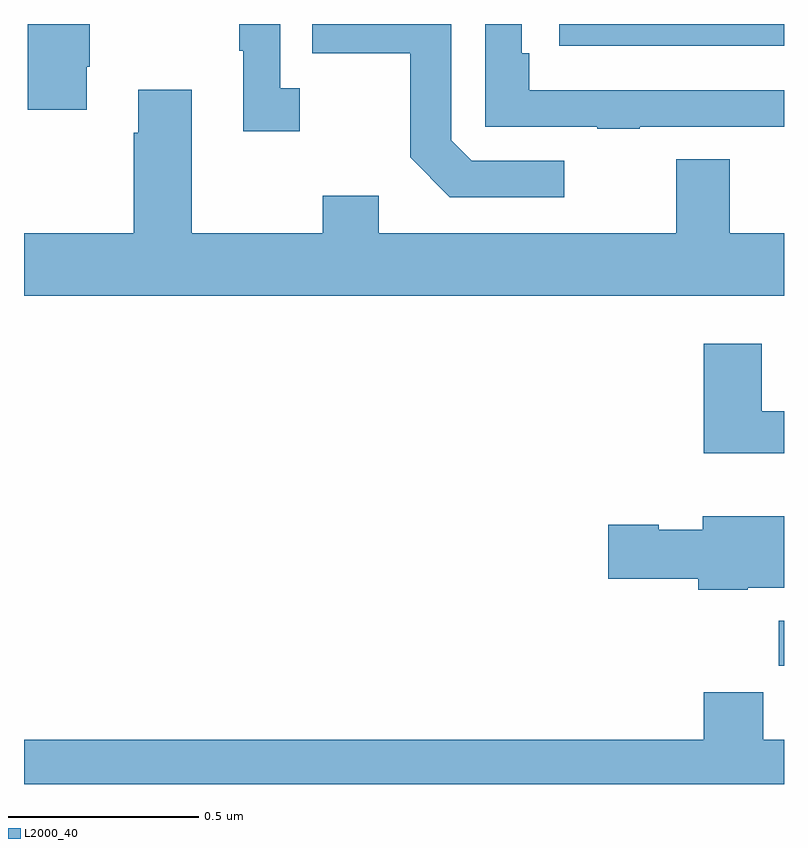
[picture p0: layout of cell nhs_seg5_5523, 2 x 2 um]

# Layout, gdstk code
import gdstk
lib = gdstk.Library(unit=1e-6, precision=1e-09)
def R(c, l, rs):  # rectangles x0, y0, x1, y1
    for r in rs: c.add(gdstk.rectangle(r[:2], r[2:], *l))
def P(c, l, *ps):  # polygons
    for p in ps: c.add(gdstk.Polygon(p, *l))
L2000_40 = (2000, 40)

nhs_seg5_5523 = lib.new_cell('nhs_seg5_5523')
R(nhs_seg5_5523, L2000_40, [(185.986,865.11,186,865.228), (185.409,866.742,186,866.799)])
P(nhs_seg5_5523, L2000_40, [(184.726,866.63),(184.674,866.63),(184.674,866.799),(184.566,866.799),(184.566,866.729),(184.577,866.729),(184.577,866.517),(184.726,866.517)],
  [(185.621,866.529),(186,866.529),(186,866.625),(185.33,866.625),(185.33,866.722),(185.31,866.722),(185.31,866.799),(185.214,866.799),(185.214,866.529),(185.509,866.529),(185.509,866.524),(185.621,866.524)],
  [(185.422,866.439),(185.178,866.439),(185.124,866.493),(185.124,866.799),(184.759,866.799),(184.759,866.722),(185.016,866.722),(185.016,866.449),(185.121,866.343),(185.422,866.343)],
  [(184.165,866.686),(184.173,866.686),(184.173,866.799),(184.01,866.799),(184.01,866.574),(184.165,866.574)],
  [(186,866.248),(185.857,866.248),(185.857,866.443),(185.717,866.443),(185.717,866.248),(184.933,866.248),(184.933,866.347),(184.786,866.347),(184.786,866.248),(184.441,866.248),(184.441,866.626),(184.301,866.626),(184.301,866.513),(184.289,866.513),(184.289,866.248),(184,866.248),(184,866.084),(186,866.084)],
  [(186,865.78),(185.941,865.78),(185.941,865.957),(185.789,865.957),(185.789,865.67),(186,865.67)],
  [(185.904,865.316),(186,865.316),(186,865.504),(185.786,865.504),(185.786,865.468),(185.67,865.468),(185.67,865.481),(185.538,865.481),(185.538,865.339),(185.774,865.339),(185.774,865.31),(185.904,865.31)],
  [(186,864.916),(185.945,864.916),(185.945,865.04),(185.789,865.04),(185.789,864.916),(184,864.916),(184,864.799),(186,864.799)])

lib.write_gds('nhs_seg5_5523.gds')
